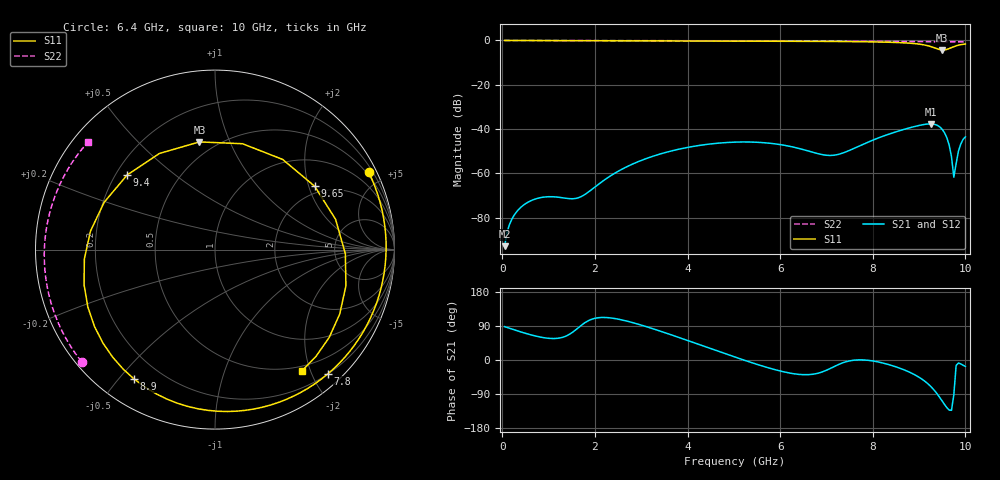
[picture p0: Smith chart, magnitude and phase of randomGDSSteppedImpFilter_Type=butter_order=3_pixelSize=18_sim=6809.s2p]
! freq	dB(S11)	phase(S11)	dB(S12)	phase(S12)
!  dB(S21)	phase(S21)	dB(S22)	phase(S22)
!S-par simulation data
#  GHz  S  DB  R 50
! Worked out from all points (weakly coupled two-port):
!   200 points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, 50 MHz to 10 GHz, reference 50 ohm
!   highest |S21| = -37.67 dB at 9.25 GHz (marker M1); lowest = -92.9 dB at 50 MHz (marker M2)
!   lowest |S11| = -4.3 dB at 9.5 GHz (marker M3), VSWR 4.08, Z = 20.5 + j38.9 ohm
!   |S11| at or under -10 dB: nowhere
!   |S22| runs from -0.7 to 0.0 dB; largest |S21 - S12| = 0
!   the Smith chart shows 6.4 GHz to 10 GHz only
!   S11 on the Smith chart (normalised r, x): 6.4 GHz: 0.39, +4.17; 7.8 GHz: 0.20, -2.25; 8.9 GHz: 0.11, -0.55; 9.4 GHz: 0.25, +0.35; 9.65 GHz: 1.76, +2.19; 10 GHz: 0.43, -1.88
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0.05  -0.00 -2.9  -92.85 88.0  -92.85 88.0  -0.00 -1.2
0.95  -0.07 -54.3  -70.59 57.9  -70.59 57.9  -0.03 -22.9
1.75  -0.12 -97.3  -69.95 95.6  -69.95 95.6  -0.05 -41.8
2.65  -0.16 -142.4  -57.40 103.9  -57.40 103.9  -0.08 -62.3
3.4  -0.20 -178.8  -51.30 76.6  -51.30 76.6  -0.10 -78.7
4.15  -0.24 144.6  -47.73 45.1  -47.73 45.1  -0.13 -94.6
5.05  -0.29 98.7  -45.87 6.7  -45.87 6.7  -0.17 -113.0
5.7  -0.32 64.3  -46.24 -19.0  -46.24 -19.0  -0.21 -126.0
6.4  -0.37 26.7  -48.71 -37.9  -48.71 -37.9  -0.26 -140.0
6.7  -0.39 10.7  -50.44 -37.7  -50.44 -37.7  -0.28 -146.0
7.2  -0.45 -15.8  -51.67 -15.4  -51.67 -15.4  -0.32 -156.1
7.8  -0.58 -47.6  -46.77 0.2  -46.77 0.2  -0.38 -168.5
8.35  -0.81 -79.2  -42.27 -12.3  -42.27 -12.3  -0.44 179.7
8.9  -1.41 -122.1  -38.86 -38.6  -38.86 -38.6  -0.51 167.2
9.25  -2.74 -175.9  -37.67 -69.6  -37.67 -69.6  -0.55 158.9
9.4  -3.85 139.7  -38.37 -91.0  -38.37 -91.0  -0.57 155.2
9.5  -4.35 98.2  -40.13 -108.5  -40.13 -108.5  -0.59 152.7
9.65  -3.63 32.4  -47.23 -132.2  -47.23 -132.2  -0.61 148.9
9.7  -3.19 14.1  -52.48 -132.7  -52.48 -132.7  -0.62 147.6
9.75  -2.77 -1.8  -61.72 -92.0  -61.72 -92.0  -0.62 146.3
9.85  -2.13 -27.3  -49.96 -8.1  -49.96 -8.1  -0.64 143.7
10  -1.61 -54.2  -43.54 -16.9  -43.54 -16.9  -0.66 139.6
